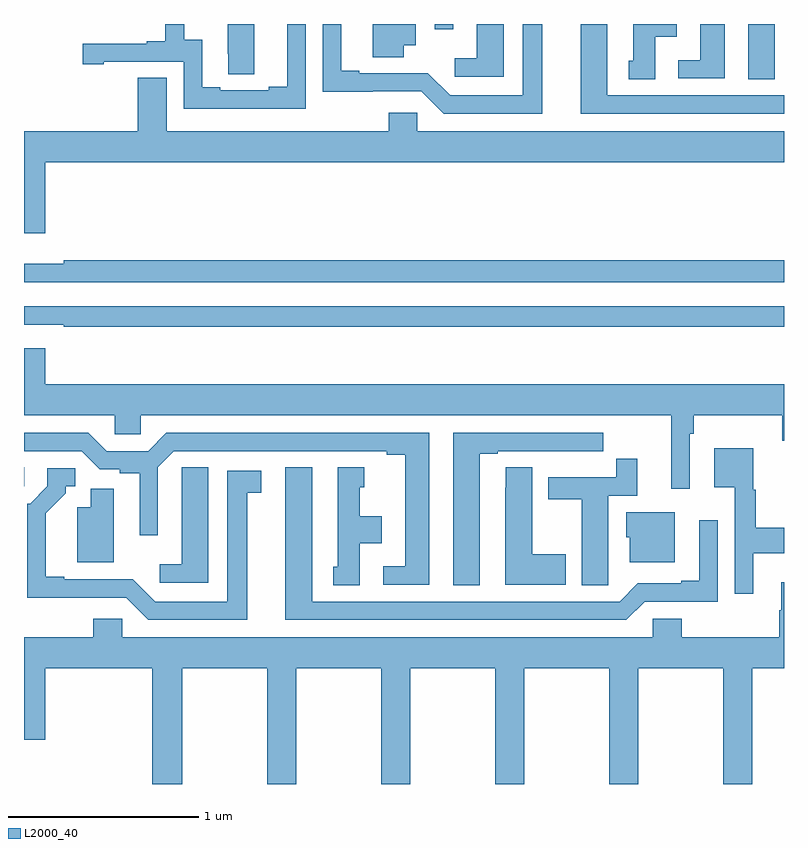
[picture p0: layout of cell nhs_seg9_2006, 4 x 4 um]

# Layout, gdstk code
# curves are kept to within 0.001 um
import gdstk
lib = gdstk.Library(unit=1e-6, precision=1e-09)
def R(c, l, rs):  # rectangles x0, y0, x1, y1
    for r in rs: c.add(gdstk.rectangle(r[:2], r[2:], *l))
def P(c, l, *ps):  # polygons
    for p in ps: c.add(gdstk.Polygon(p, *l))
L2000_40 = (2000, 40)

nhs_seg9_2006 = lib.new_cell('nhs_seg9_2006')
R(nhs_seg9_2006, L2000_40, [(225,1176.066,225.001,1176.167), (228.812,1178.209,228.952,1178.5), (227.163,1178.472,227.259,1178.5)])
P(nhs_seg9_2006, L2000_40, [(226.482,1178.5),(226.385,1178.5),(226.385,1178.171),(226.289,1178.171),(226.289,1178.151),(226.033,1178.151),(226.033,1178.166),(225.937,1178.166),(225.937,1178.417),(225.843,1178.417),(225.843,1178.5),(225.743,1178.5),(225.743,1178.41),(225.647,1178.41),(225.647,1178.397),(225.309,1178.397),(225.309,1178.289),(225.421,1178.289),(225.421,1178.301),(225.84,1178.301),(225.84,1178.055),(226.482,1178.055)],
  [(226.999,1178.387),(227.062,1178.387),(227.062,1178.5),(226.835,1178.5),(226.835,1178.326),(226.999,1178.326)],
  [(227.728,1178.5),(227.624,1178.5),(227.624,1178.124),(227.244,1178.124),(227.126,1178.242),(226.765,1178.241),(226.765,1178.254),(226.669,1178.254),(226.669,1178.5),(226.572,1178.5),(226.572,1178.144),(227.091,1178.145),(227.208,1178.028),(227.728,1178.028)],
  [(228.322,1178.432),(228.436,1178.432),(228.436,1178.5),(228.206,1178.5),(228.206,1178.307),(228.182,1178.307),(228.182,1178.209),(228.322,1178.209)],
  [(228.688,1178.5),(228.56,1178.5),(228.56,1178.31),(228.444,1178.31),(228.444,1178.214),(228.688,1178.214)],
  [(226.213,1178.5),(226.073,1178.5),(226.073,1178.344),(226.074,1178.344),(226.074,1178.236),(226.213,1178.236)],
  [(229,1178.124),(228.07,1178.124),(228.07,1178.5),(227.93,1178.5),(227.93,1178.028),(229,1178.028)],
  [(227.524,1178.5),(227.384,1178.5),(227.384,1178.32),(227.268,1178.32),(227.268,1178.223),(227.524,1178.223)],
  [(225.112,1177.772),(229,1177.772),(229,1177.936),(227.07,1177.936),(227.07,1178.034),(226.919,1178.034),(226.919,1177.936),(225.751,1177.936),(225.751,1178.216),(225.599,1178.216),(225.599,1177.936),(225,1177.936),(225,1177.398),(225.112,1177.398)],
  [(229,1177.256),(225.208,1177.256),(225.208,1177.237),(225,1177.237),(225,1177.14),(229,1177.14)],
  [(229,1177.014),(225,1177.014),(225,1176.918),(225.208,1176.918),(225.208,1176.906),(229,1176.906)],
  [(228.504,1176.344),(228.524,1176.344),(228.524,1176.44),(228.991,1176.44),(228.991,1176.306),(229,1176.306),(229,1176.604),(225.112,1176.604),(225.112,1176.793),(225,1176.793),(225,1176.44),(225.477,1176.44),(225.477,1176.342),(225.615,1176.342),(225.615,1176.44),(228.407,1176.44),(228.407,1176.054),(228.504,1176.054)],
  [(227.134,1176.348),(225.749,1176.348),(225.653,1176.252),(225.435,1176.252),(225.339,1176.348),(225,1176.348),(225,1176.252),(225.303,1176.252),(225.399,1176.156),(225.504,1176.156),(225.504,1176.136),(225.608,1176.136),(225.608,1175.808),(225.705,1175.808),(225.705,1176.168),(225.789,1176.252),(226.91,1176.252),(226.91,1176.232),(227.006,1176.232),(227.006,1175.646),(226.89,1175.646),(226.89,1175.55),(227.134,1175.55)],
  [(227.398,1176.237),(227.494,1176.237),(227.494,1176.252),(227.77,1176.252),(227.77,1176.251),(227.936,1176.251),(227.936,1176.252),(228.049,1176.252),(228.049,1176.348),(227.258,1176.348),(227.258,1175.545),(227.398,1175.545)],
  [(228.838,1175.714),(229,1175.714),(229,1175.849),(228.85,1175.849),(228.85,1176.048),(228.838,1176.048),(228.838,1176.268),(228.632,1176.268),(228.632,1176.062),(228.741,1176.062),(228.741,1175.502),(228.838,1175.502)],
  [(228.075,1175.656),(228.076,1175.656),(228.076,1176.018),(228.227,1176.018),(228.227,1176.211),(228.118,1176.211),(228.118,1176.114),(227.759,1176.114),(227.759,1175.998),(227.936,1175.998),(227.936,1175.545),(228.075,1175.545)],
  [(225.97,1176.167),(225.831,1176.167),(225.831,1176.059),(225.83,1176.059),(225.83,1175.656),(225.714,1175.656),(225.714,1175.559),(225.97,1175.559)],
  [(227.851,1175.709),(227.674,1175.709),(227.674,1176.167),(227.535,1176.167),(227.535,1176.059),(227.534,1176.059),(227.534,1175.549),(227.851,1175.549)],
  [(226.768,1175.768),(226.882,1175.768),(226.882,1175.908),(226.768,1175.908),(226.768,1176.063),(226.792,1176.063),(226.792,1176.166),(226.652,1176.166),(226.652,1175.643),(226.628,1175.643),(226.628,1175.545),(226.768,1175.545)],
  [(228.267,1175.46),(228.651,1175.46),(228.651,1175.887),(228.554,1175.887),(228.554,1175.569),(228.458,1175.569),(228.458,1175.556),(228.231,1175.556),(228.135,1175.46),(226.516,1175.46),(226.516,1176.166),(226.376,1176.166),(226.376,1175.364),(228.171,1175.364)],
  [(226.174,1176.034),(226.249,1176.034),(226.249,1176.15),(226.07,1176.15),(226.07,1175.46),(225.69,1175.46),(225.573,1175.577),(225.211,1175.577),(225.211,1175.59),(225.115,1175.59),(225.115,1175.926),(225.22,1176.031),(225.22,1176.066),(225.27,1176.066),(225.27,1176.162),(225.123,1176.162),(225.123,1176.066),(225.033,1175.976),(225.018,1175.976),(225.018,1175.48),(225.537,1175.481),(225.654,1175.364),(226.174,1175.364)],
  [(225.472,1176.054),(225.35,1176.054),(225.35,1175.956),(225.281,1175.956),(225.281,1175.666),(225.472,1175.666)],
  [(228.424,1175.929),(228.17,1175.929),(228.17,1175.799),(228.188,1175.799),(228.188,1175.666),(228.424,1175.666)],
  [(225.834,1175.108),(226.279,1175.108),(226.279,1174.5),(226.434,1174.5),(226.434,1175.108),(226.879,1175.108),(226.879,1174.5),(227.034,1174.5),(227.034,1175.108),(227.479,1175.108),(227.479,1174.5),(227.634,1174.5),(227.634,1175.108),(228.079,1175.108),(228.079,1174.5),(228.234,1174.5),(228.234,1175.108),(228.679,1175.108),(228.679,1174.5),(228.834,1174.5),(228.834,1175.108),(229,1175.108),(229,1175.563),(228.986,1175.563),(228.986,1175.414),(228.974,1175.414),(228.974,1175.272),(228.461,1175.272),(228.461,1175.37),(228.309,1175.37),(228.309,1175.272),(225.516,1175.272),(225.516,1175.37),(225.365,1175.37),(225.365,1175.272),(225,1175.272),(225,1174.734),(225.112,1174.734),(225.112,1175.108),(225.674,1175.108),(225.674,1174.5),(225.834,1174.5)])

lib.write_gds('nhs_seg9_2006.gds')
